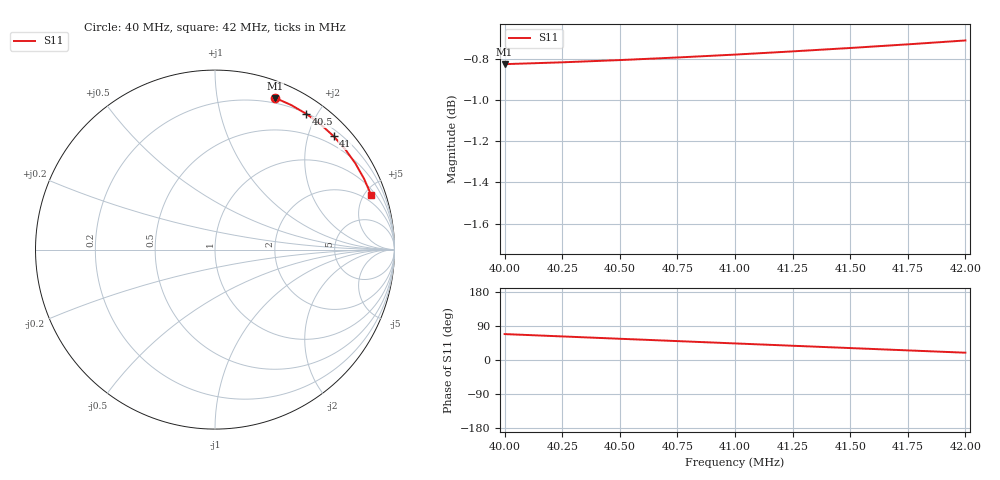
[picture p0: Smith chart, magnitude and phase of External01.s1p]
# Hz S RI R 50
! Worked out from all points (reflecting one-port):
!   9 points, 40 MHz to 42 MHz, reference 50 ohm
!   lowest |S11| = -0.8 dB at 40 MHz (marker M1), VSWR 21.08, Z = 7.47 + j73.1 ohm
!   phase of S11 starts at 68 deg and turns -49 deg over the sweep
!   S11 on the Smith chart (normalised r, x): 40 MHz: 0.15, +1.46; 40.5 MHz: 0.21, +1.86; 41 MHz: 0.32, +2.46; 42 MHz: 1.38, +5.56
4e7  0.3348 0.8455
4.025e7  0.4244 0.8054
4.05e7  0.5091 0.7561
4.075e7  0.5881 0.6981
4.1e7  0.6605 0.6322
4.125e7  0.7256 0.559
4.15e7  0.7826 0.4793
4.175e7  0.8309 0.3939
4.2e7  0.87 0.3038
